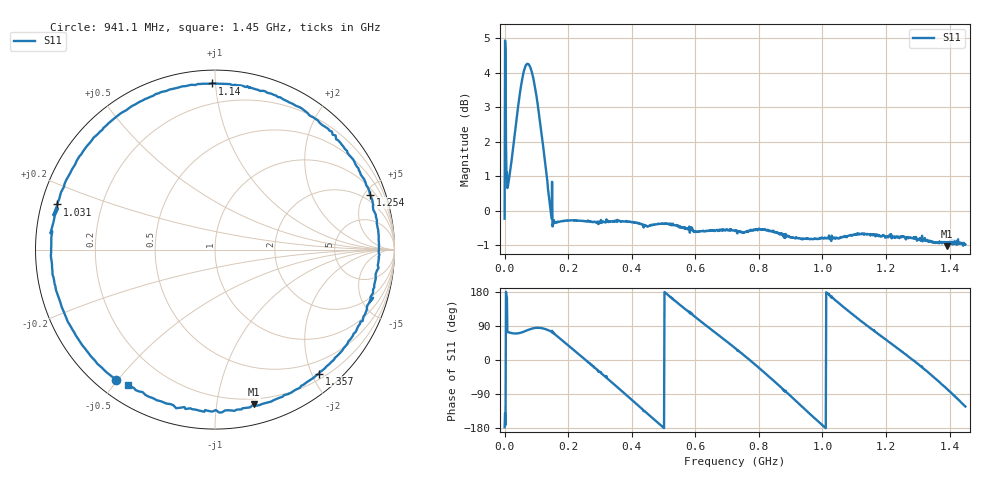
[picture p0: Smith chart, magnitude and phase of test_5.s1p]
! Created with skrf 1.11.0 (http://scikit-rf.org).
# Hz S RI R 50.0
!freq ReS11 ImS11
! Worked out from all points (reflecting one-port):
!   1001 points, 50 kHz to 1.45 GHz, reference 50 ohm
!   lowest |S11| = -1.0 dB at 1.392 GHz (marker M1), VSWR 17.06, Z = 7.7 - j63.5 ohm
!   phase of S11 starts at -178 deg and turns -1025 deg over the sweep
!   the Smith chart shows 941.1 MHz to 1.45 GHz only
!   S11 on the Smith chart (normalised r, x): 941.1 MHz: 0.06, -0.50; 1.031 GHz: 0.05, +0.14; 1.14 GHz: 0.08, +0.98; 1.254 GHz: 1.43, +5.47; 1.357 GHz: 0.29, -2.11; 1.45 GHz: 0.07, -0.54
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50000  -0.9738 -0.041
1.599945e7  0.347 1.075
6.819765e7  0.3542 1.59
1.16046e8  0.1295 1.29
1.812938e8  0.5972 0.7597
2.262422e8  0.9078 0.3359
2.682908e8  0.9567 -0.1404
3.132392e8  0.7218 -0.6393
3.625375e8  0.2114 -0.9442
4.103858e8  -0.3686 -0.8876
4.64034e8  -0.8444 -0.4427
5.437812e8  -0.8324 0.4588
6.36578e8  0.0087 0.9352
7.25025e8  0.7984 0.4871
8.076722e8  0.8445 -0.4143
8.584204e8  0.4162 -0.8305
9.062688e8  -0.1559 -0.9027
9.410676e8  -0.55 -0.7263
9.87466e8  -0.8693 -0.2718
1.030964e9  -0.8777 0.2516
1.087512e9  -0.5375 0.7498
1.139711e9  -0.0177 0.9259
1.193359e9  0.4934 0.7782
1.254257e9  0.8643 0.3054
1.268756e9  0.9025 0.1624
1.357203e9  0.5787 -0.691
1.392002e9  0.216 -0.8626
1.45e9  -0.4836 -0.7522
